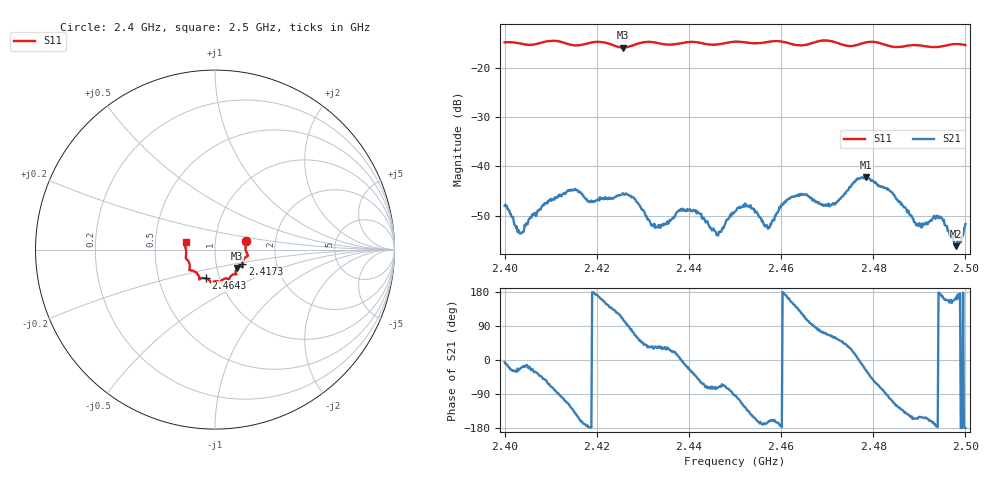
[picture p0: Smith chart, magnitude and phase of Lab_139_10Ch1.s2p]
# Hz S RI R 50
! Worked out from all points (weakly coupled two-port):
!   601 points, 2.4 GHz to 2.5 GHz, reference 50 ohm
!   highest |S21| = -42.17 dB at 2.4785 GHz (marker M1); lowest = -56.2 dB at 2.498 GHz (marker M2)
!   lowest |S11| = -15.9 dB at 2.4257 GHz (marker M3), VSWR 1.38, Z = 62.4 - j13.1 ohm
!   |S11| at or under -10 dB: start of sweep to end of sweep
!   S12 and S22 are empty: the file has one direction only
!   S11 on the Smith chart (normalised r, x): 2.4 GHz: 1.41, +0.14; 2.4173 GHz: 1.34, -0.23; 2.4643 GHz: 0.86, -0.28; 2.5 GHz: 0.72, +0.06
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2.4e9  0.1734 0.0494  0.00395 -0.0004  0 0  0 0
2.403667e9  0.1723 0.0286  0.002 -0.000718  0 0  0 0
2.4095e9  0.1832 -0.0314  0.00199 -0.00402  0 0  0 0
2.416667e9  0.1525 -0.0749  -0.00499 -0.00172  0 0  0 0
2.417333e9  0.152 -0.0822  -0.0047 -0.000911  0 0  0 0
2.425667e9  0.1226 -0.1025  -0.00164 0.00506  0 0  0 0
2.433333e9  0.1127 -0.1366  0.00208 0.00141  0 0  0 0
2.440167e9  0.0796 -0.1639  0.00328 -0.00163  0 0  0 0
2.4465e9  0.0438 -0.1668  0.00069 -0.00205  0 0  0 0
2.45e9  0.0295 -0.1808  -0.000182 -0.00346  0 0  0 0
2.453333e9  0.0153 -0.1768  -0.00321 -0.00246  0 0  0 0
2.457e9  -0.0141 -0.1811  -0.00233 -0.00061  0 0  0 0
2.460667e9  -0.025 -0.18  -0.00431 0.000375  0 0  0 0
2.464333e9  -0.0502 -0.1601  -0.00288 0.00423  0 0  0 0
2.466667e9  -0.0761 -0.1596  -0.00034 0.00471  0 0  0 0
2.471167e9  -0.0868 -0.1622  0.00193 0.00367  0 0  0 0
2.4785e9  -0.1388 -0.1157  0.00686 -0.0037  0 0  0 0
2.483333e9  -0.1403 -0.0894  -0.00077 -0.00569  0 0  0 0
2.489333e9  -0.163 -0.045  -0.00227 -0.00107  0 0  0 0
2.494833e9  -0.1638 0.00845  -0.00293 0.000638  0 0  0 0
2.498e9  -0.1708 0.0313  -0.0015 0.000374  0 0  0 0
2.5e9  -0.1637 0.0419  -0.0026 -2.6e-05  0 0  0 0
